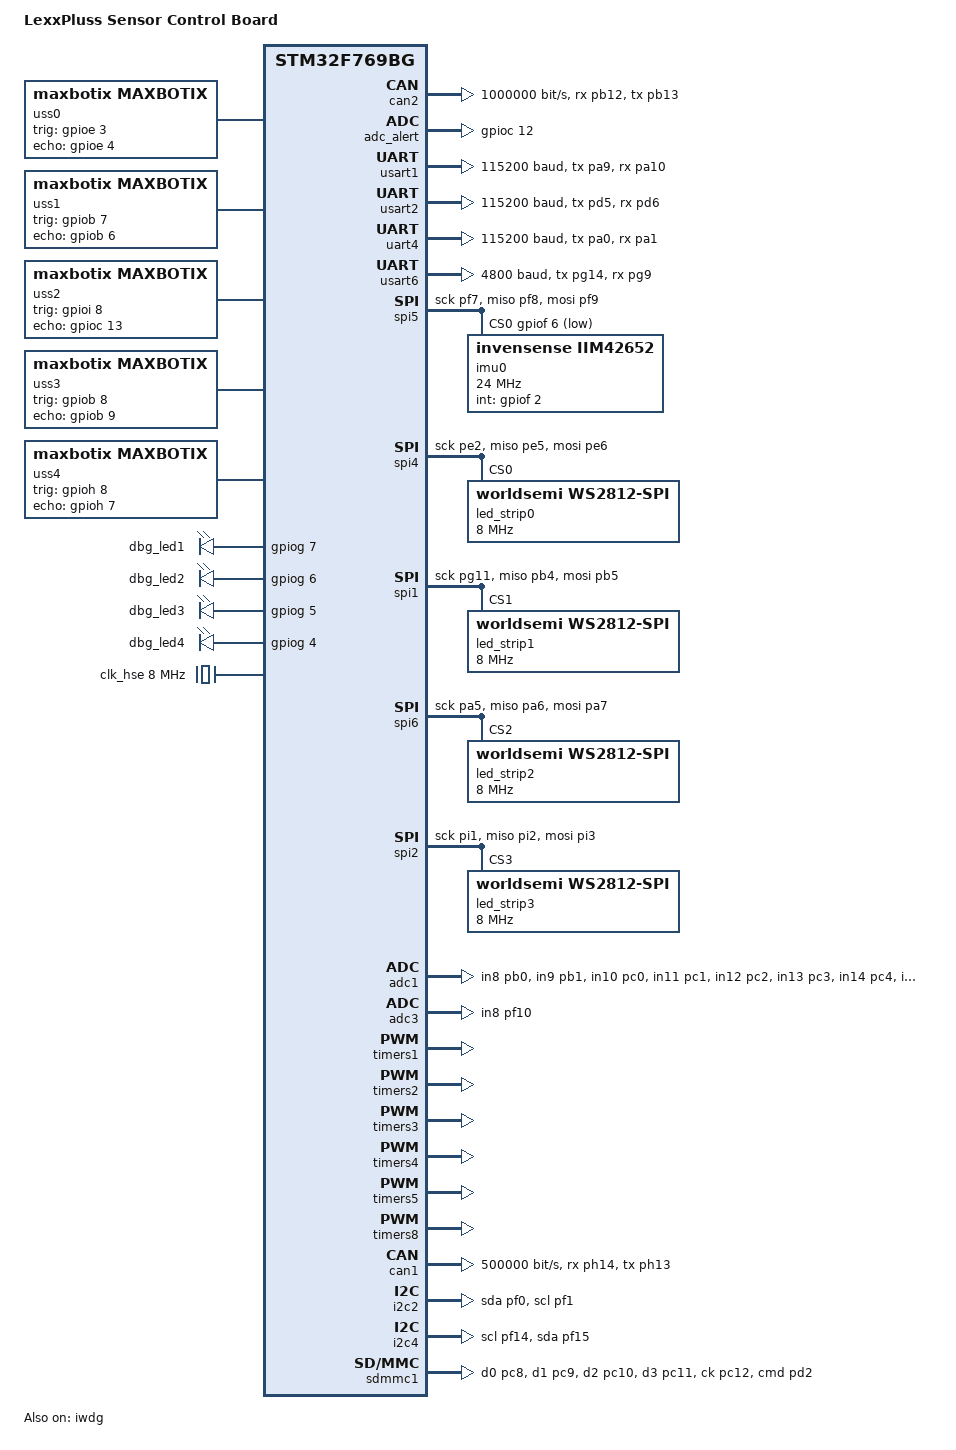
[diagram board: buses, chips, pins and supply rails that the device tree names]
/*
 * Copyright (c) 2022, LexxPluss Inc.
 * All rights reserved.
 * 
 * Redistribution and use in source and binary forms, with or without
 * modification, are permitted provided that the following conditions are met:
 * 
 * 1. Redistributions of source code must retain the above copyright notice,
 *    this list of conditions and the following disclaimer.
 * 2. Redistributions in binary form must reproduce the above copyright notice,
 *    this list of conditions and the following disclaimer in the documentation
 *    and/or other materials provided with the distribution.
 * 
 * THIS SOFTWARE IS PROVIDED BY THE COPYRIGHT HOLDERS AND CONTRIBUTORS "AS IS" AND
 * ANY EXPRESS OR IMPLIED WARRANTIES, INCLUDING, BUT NOT LIMITED TO, THE IMPLIED
 * WARRANTIES OF MERCHANTABILITY AND FITNESS FOR A PARTICULAR PURPOSE ARE
 * DISCLAIMED. IN NO EVENT SHALL THE COPYRIGHT OWNER OR CONTRIBUTORS BE LIABLE FOR
 * ANY DIRECT, INDIRECT, INCIDENTAL, SPECIAL, EXEMPLARY, OR CONSEQUENTIAL DAMAGES
 * (INCLUDING, BUT NOT LIMITED TO, PROCUREMENT OF SUBSTITUTE GOODS OR SERVICES;
 * LOSS OF USE, DATA, OR PROFITS; OR BUSINESS INTERRUPTION) HOWEVER CAUSED AND
 * ON ANY THEORY OF LIABILITY, WHETHER IN CONTRACT, STRICT LIABILITY, OR TORT
 * (INCLUDING NEGLIGENCE OR OTHERWISE) ARISING IN ANY WAY OUT OF THE USE OF THIS
 * SOFTWARE, EVEN IF ADVISED OF THE POSSIBILITY OF SUCH DAMAGE.
 */

/dts-v1/;
#include <mem.h>
#include <dt-bindings/led/led.h>
#include <st/f7/stm32f769.dtsi>
#include <st/f7/stm32f769b(g-i)tx-pinctrl.dtsi>

/ {
	model = "LexxPluss Sensor Control Board";
	compatible = "st,stm32f769bg-lexxpluss";

	chosen {
		zephyr,code-partition = &slot0_partition;
		zephyr,console = &usart1;
		zephyr,shell-uart = &usart1;
		zephyr,sram = &sram0;
		zephyr,flash = &flash0;
		zephyr,dtcm = &dtcm;
		zephyr,canbus = &can1;
	};

	soc {
		flash-controller@40023c00 {
			flash0: flash@8000000 {
				reg = <0x08000000 DT_SIZE_K(1024)>;
			};
		};

		can2: can@40006800 {
			compatible = "st,stm32-bxcan";
			reg = <0x40006800 0x400>;
			interrupts = <63 0>, <64 0>, <65 0>, <66 0>;
			interrupt-names = "TX", "RX0", "RX1", "SCE";
			clocks = <&rcc STM32_CLOCK_BUS_APB1 0x06000000>;
			master-can-reg = <0x40006400>;
			status = "disabled";
			sample-point = <875>;
		};
	};

	uss0: mb1604-0 {
		compatible = "maxbotix,maxbotix";
		trig_gpios = <&gpioe 3 GPIO_ACTIVE_HIGH>;
		echo_gpios = <&gpioe 4 GPIO_ACTIVE_HIGH>;
		status = "okay";
	};

	uss1: mb1604-1 {
		compatible = "maxbotix,maxbotix";
		trig_gpios = <&gpiob 7 GPIO_ACTIVE_HIGH>;
		echo_gpios = <&gpiob 6 GPIO_ACTIVE_HIGH>;
		status = "okay";
	};

	uss2: mb1604-2 {
		compatible = "maxbotix,maxbotix";
		trig_gpios = <&gpioi 8 GPIO_ACTIVE_HIGH>;
		echo_gpios = <&gpioc 13 GPIO_ACTIVE_HIGH>;
		status = "okay";
	};

	uss3: mb1604-3 {
		compatible = "maxbotix,maxbotix";
		trig_gpios = <&gpiob 8 GPIO_ACTIVE_HIGH>;
		echo_gpios = <&gpiob 9 GPIO_ACTIVE_HIGH>;
		status = "okay";
	};

	uss4: mb1604-4 {
		compatible = "maxbotix,maxbotix";
		trig_gpios = <&gpioh 8 GPIO_ACTIVE_HIGH>;
		echo_gpios = <&gpioh 7 GPIO_ACTIVE_HIGH>;
		status = "okay";
	};

	leds {
		compatible = "gpio-leds";
		dbg_led1: dbgled1 {
			gpios = <&gpiog 7 GPIO_ACTIVE_HIGH>;
		};
		dbg_led2: dbg_led2 {
			gpios = <&gpiog 6 GPIO_ACTIVE_HIGH>;
		};
		dbg_led3: dbg_led3 {
			gpios = <&gpiog 5 GPIO_ACTIVE_HIGH>;
		};
		dbg_led4: dbg_led4 {
			gpios = <&gpiog 4 GPIO_ACTIVE_HIGH>;
		};
	};

	iofunc {
		/* Actuator */
		act_c_fail: act_c_fail {
			compatible = "gpio-pin";
			gpios = <&gpiod 10 GPIO_ACTIVE_HIGH>;
		};
		act_l_fail: act_l_fail {
			compatible = "gpio-pin";
			gpios = <&gpiog 8 GPIO_ACTIVE_HIGH>;
		};
		act_r_fail: act_r_fail {
			compatible = "gpio-pin";
			gpios = <&gpioe 10 GPIO_ACTIVE_HIGH>;
		};
		ps_lift_actuator: ps_lift_actuator {
			compatible = "gpio-pin";
			gpios = <&gpioj 0 GPIO_ACTIVE_HIGH>;
		};
		pgood_linear_act_left: pgood_linear_act_left {
			compatible = "gpio-pin";
			gpios = <&gpiok 4 GPIO_ACTIVE_HIGH>;
		};
		pgood_linear_act_right: pgood_linear_act_right {
			compatible = "gpio-pin";
			gpios = <&gpiok 5 GPIO_ACTIVE_HIGH>;
		};
		pgood_linear_act_center: pgood_linear_act_center {
			compatible = "gpio-pin";
			gpios = <&gpiok 6 GPIO_ACTIVE_HIGH>;
		};
		encoder_center_actuator_ch1: encoder_center_actuator_ch1 {
			compatible = "gpio-pin";
			gpios = <&gpiod 12 GPIO_ACTIVE_HIGH>;
		};
		encoder_center_actuator_ch2: encoder_center_actuator_ch2 {
			compatible = "gpio-pin";
			gpios = <&gpiod 13 GPIO_ACTIVE_HIGH>;
		};
		encoder_left_actuator_ch1: encoder_left_actuator_ch1 {
			compatible = "gpio-pin";
			gpios = <&gpioa 3 GPIO_ACTIVE_HIGH>;
		};
		encoder_left_actuator_ch2: encoder_left_actuator_ch2 {
			compatible = "gpio-pin";
			gpios = <&gpioa 4 GPIO_ACTIVE_HIGH>;
		};
		encoder_right_actuator_ch1: encoder_right_actuator_ch1 {
			compatible = "gpio-pin";
			gpios = <&gpioh 6 GPIO_ACTIVE_HIGH>;
		};
		encoder_right_actuator_ch2: encoder_right_actuator_ch2 {
			compatible = "gpio-pin";
			gpios = <&gpioh 9 GPIO_ACTIVE_HIGH>;
		};
		d_enc_ena: d_enc_ena {
			compatible = "gpio-pin";
			gpios = <&gpiod 14 GPIO_ACTIVE_HIGH>;
		};

		/* Power */
		v24: v24 {
			compatible = "gpio-pin";
			gpios = <&gpioc 15 GPIO_ACTIVE_HIGH>;
		};
		v_autocharge: v_autocharge {
			compatible = "gpio-pin";
			gpios = <&gpiod 0 GPIO_ACTIVE_HIGH>;
		};
		v_wheel: v_wheel {
			compatible = "gpio-pin";
			gpios = <&gpiod 1 GPIO_ACTIVE_HIGH>;
		};
		v_peripheral: v_peripheral {
			compatible = "gpio-pin";
			gpios = <&gpiod 2 GPIO_ACTIVE_HIGH>;
		};
		pgood_24v: pgood_24v {
			compatible = "gpio-pin";
			gpios = <&gpioh 3 GPIO_ACTIVE_HIGH>;
		};
		pgood_peripheral: pgood_peripheral {
			compatible = "gpio-pin";
			gpios = <&gpioh 15 GPIO_ACTIVE_HIGH>;
		};
		pgood_wheel_motor_left: pgood_wheel_motor_left {
			compatible = "gpio-pin";
			gpios = <&gpioh 1 GPIO_ACTIVE_HIGH>;
		};
		pgood_wheel_motor_right: pgood_wheel_motor_right {
			compatible = "gpio-pin";
			gpios = <&gpioh 12 GPIO_ACTIVE_HIGH>;
		};

		/* Fan */
		fan1: fan1 {
			compatible = "gpio-pin";
			gpios = <&gpioc 10 GPIO_ACTIVE_HIGH>;
		};
		fan2: fan2 {
			compatible = "gpio-pin";
			gpios = <&gpioc 11 GPIO_ACTIVE_HIGH>;
		};
		fan3: fan3 {
			compatible = "gpio-pin";
			gpios = <&gpiob 14 GPIO_ACTIVE_HIGH>;
		};
		fan4: fan4 {
			compatible = "gpio-pin";
			gpios = <&gpiob 15 GPIO_ACTIVE_HIGH>;
		};
		
		/* PGV */
		pgv_en_n: pgv_en_n {
			compatible = "gpio-pin";
			gpios = <&gpioa 2 GPIO_ACTIVE_HIGH>;
		};
		pgv_en: pgv_en {
			compatible = "gpio-pin";
			gpios = <&gpioh 2 GPIO_ACTIVE_HIGH>;
		};

		/* Power SW */
		ps_sw_in: ps_sw_in {
			compatible = "gpio-pin";
			gpios = <&gpioh 4 GPIO_ACTIVE_HIGH>;
		};
		ps_led_out: ps_led_out {
			compatible = "gpio-pin";
			gpios = <&gpioh 5 GPIO_ACTIVE_HIGH>;
		};

		/* Resume SW */
		resume_sw_in: resume_sw_in {
			compatible = "gpio-pin";
			gpios = <&gpioi 14 GPIO_ACTIVE_HIGH>;
		};
		resume_led_out: resume_led_out {
			compatible = "gpio-pin";
			gpios = <&gpioi 9 GPIO_ACTIVE_HIGH>;
		};

		/* Safety */
		wheel_en: wheel_en {
			compatible = "gpio-pin";
			gpios = <&gpiok 3 GPIO_ACTIVE_HIGH>;
		};
		bp_left: bp_left {
			compatible = "gpio-pin";
			gpios = <&gpioi 7 GPIO_ACTIVE_HIGH>;
		};
		bp_reset: bp_reset {
			compatible = "gpio-pin";
			gpios = <&gpiof 4 GPIO_ACTIVE_HIGH>;
		};
		es_left: es_left {
			compatible = "gpio-pin";
			gpios = <&gpioi 4 GPIO_ACTIVE_HIGH>;
		};
		es_right: es_right {
			compatible = "gpio-pin";
			gpios = <&gpioi 0 GPIO_ACTIVE_HIGH>;
		};
		mc_din: mc_din {
			compatible = "gpio-pin";
			gpios = <&gpiok 7 GPIO_ACTIVE_HIGH>;
		};
		es_option_1: es_option_1 {
			compatible = "gpio-pin";
			gpios = <&gpioj 14 GPIO_ACTIVE_HIGH>;
		};
		es_option_2: es_option_2 {
			compatible = "gpio-pin";
			gpios = <&gpioj 15 GPIO_ACTIVE_HIGH>;
		};
		eo_option_1: eo_option_1 {
			compatible = "gpio-pin";
			gpios = <&gpiog 2 GPIO_ACTIVE_HIGH>;
		};
		eo_option_2: eo_option_2 {
			compatible = "gpio-pin";
			gpios = <&gpiog 3 GPIO_ACTIVE_HIGH>;
		};
		safety_lidar_ossd1: safety_lidar_ossd1 {
			compatible = "gpio-pin";
			gpios = <&gpiof 5 GPIO_ACTIVE_HIGH>;
		};
		safety_lidar_ossd2: safety_lidar_ossd2 {
			compatible = "gpio-pin";
			gpios = <&gpiof 11 GPIO_ACTIVE_HIGH>;
		};
		safety_lidar_ossd3: safety_lidar_ossd3 {
			compatible = "gpio-pin";
			gpios = <&gpiof 13 GPIO_ACTIVE_HIGH>;
		};
		safety_lidar_ossd4: safety_lidar_ossd4 {
			compatible = "gpio-pin";
			gpios = <&gpiod 15 GPIO_ACTIVE_HIGH>;
		};
		safety_lidar_res_req1: safety_lidar_res_req1 {
			compatible = "gpio-pin";
			gpios = <&gpiog 10 GPIO_ACTIVE_HIGH>;
		};
		safety_lidar_res_req2: safety_lidar_res_req2 {
			compatible = "gpio-pin";
			gpios = <&gpiog 15 GPIO_ACTIVE_HIGH>;
		};

		/* BMU */
		bmu_c_fet: bmu_c_fet {
			compatible = "gpio-pin";
			gpios = <&gpioj 5 GPIO_ACTIVE_HIGH>;
		};
		bmu_d_fet: bmu_d_fet {
			compatible = "gpio-pin";
			gpios = <&gpioj 12 GPIO_ACTIVE_HIGH>;
		};
		bmu_p_dsg: bmu_p_dsg {
			compatible = "gpio-pin";
			gpios = <&gpioj 13 GPIO_ACTIVE_HIGH>;
		};

		/* IPC GPIO */
		ipc_gpio_2: ipc_gpio_2 {
			compatible = "gpio-pin";
			gpios = <&gpiof 12 GPIO_ACTIVE_HIGH>;
		};
		ipc_gpio_3: ipc_gpio_3 {
			compatible = "gpio-pin";
			gpios = <&gpiod 7 GPIO_ACTIVE_HIGH>;
		};
		ipc_gpio_4: ipc_gpio_4 {
			compatible = "gpio-pin";
			gpios = <&gpiod 8 GPIO_ACTIVE_HIGH>;
		};
		ipc_gpio_5: ipc_gpio_5 {
			compatible = "gpio-pin";
			gpios = <&gpiod 9 GPIO_ACTIVE_HIGH>;
		};
		ipc_gpio_6: ipc_gpio_6 {
			compatible = "gpio-pin";
			gpios = <&gpiod 11 GPIO_ACTIVE_HIGH>;
		};
		ipc_gpio_7: ipc_gpio_7 {
			compatible = "gpio-pin";
			gpios = <&gpioe 1 GPIO_ACTIVE_HIGH>;
		};

		/* Wheel Encoder */
		encoder_wheel_left_z: encoder_wheel_left_z {
			compatible = "gpio-pin";
			gpios = <&gpioe 0 GPIO_ACTIVE_HIGH>;
		};
		encoder_wheel_right_z: encoder_wheel_right_z {
			compatible = "gpio-pin";
			gpios = <&gpioe 12 GPIO_ACTIVE_HIGH>;
		};

		/* DIPSW */
		dipsw_bit_1: dipsw_bit_1 {
			compatible = "gpio-pin";
			gpios = <&gpioe 13 GPIO_ACTIVE_HIGH>;
		};
		dipsw_bit_2: dipsw_bit_2 {
			compatible = "gpio-pin";
			gpios = <&gpioe 14 GPIO_ACTIVE_HIGH>;
		};
		dipsw_bit_3: dipsw_bit_3 {
			compatible = "gpio-pin";
			gpios = <&gpioe 15 GPIO_ACTIVE_HIGH>;
		};
		dipsw_bit_4: dipsw_bit_4 {
			compatible = "gpio-pin";
			gpios = <&gpiof 3 GPIO_ACTIVE_HIGH>;
		};
		
		/* IPC Power */
		ipc_power_sw_fp: ipc_power_sw_fp {
			compatible = "gpio-pin";
			gpios = <&gpioe 7 GPIO_ACTIVE_HIGH>;
		};
		ipc_power_status_fp: ipc_power_status_fp {
			compatible = "gpio-pin";
			gpios = <&gpioe 8 GPIO_ACTIVE_HIGH>;
		};

		/* Switch */
		key_switch_left: key_switch_left {
			compatible = "gpio-pin";
			gpios = <&gpioi 10 GPIO_ACTIVE_HIGH>;
		};
		key_switch_right: key_switch_right {
			compatible = "gpio-pin";
			gpios = <&gpioi 11 GPIO_ACTIVE_HIGH>;
		};
		switch_start: switch_start {
			compatible = "gpio-pin";
			gpios = <&gpioi 12 GPIO_ACTIVE_HIGH>;
		};
		switch_stop: switch_stop {
			compatible = "gpio-pin";
			gpios = <&gpioi 13 GPIO_ACTIVE_HIGH>;
		};
		lift_up_switch: lift_up_switch {
			compatible = "gpio-pin";
			gpios = <&gpiog 0 GPIO_ACTIVE_HIGH>;
		};
		lift_down_switch: lift_down_switch {
			compatible = "gpio-pin";
			gpios = <&gpiog 1 GPIO_ACTIVE_HIGH>;
		};

		/* Spare GPIO */
		spare_gpio_1: spare_gpio_1 {
			compatible = "gpio-pin";
			gpios = <&gpioi 15 GPIO_ACTIVE_HIGH>;
		};
		spare_gpio_2: spare_gpio_2 {
			compatible = "gpio-pin";
			gpios = <&gpioj 1 GPIO_ACTIVE_HIGH>;
		};
		spare_gpio_3: spare_gpio_3 {
			compatible = "gpio-pin";
			gpios = <&gpioj 2 GPIO_ACTIVE_HIGH>;
		};
		spare_gpio_4: spare_gpio_4 {
			compatible = "gpio-pin";
			gpios = <&gpioj 3 GPIO_ACTIVE_HIGH>;
		};
		spare_gpio_5: spare_gpio_5 {
			compatible = "gpio-pin";
			gpios = <&gpioj 4 GPIO_ACTIVE_HIGH>;
		};
		spare_gpio_6: spare_gpio_6 {
			compatible = "gpio-pin";
			gpios = <&gpioa 8 GPIO_ACTIVE_HIGH>;
		};
		spare_gpio_7: spare_gpio_7 {
			compatible = "gpio-pin";
			gpios = <&gpioa 15 GPIO_ACTIVE_HIGH>;
		};
		spare_gpio_8: spare_gpio_8 {
			compatible = "gpio-pin";
			gpios = <&gpiob 2 GPIO_ACTIVE_HIGH>;
		};
		spare_gpio_9: spare_gpio_9 {
			compatible = "gpio-pin";
			gpios = <&gpiob 3 GPIO_ACTIVE_HIGH>;
		};
		spare_gpio_10: spare_gpio_10 {
			compatible = "gpio-pin";
			gpios = <&gpiob 4 GPIO_ACTIVE_HIGH>;
		};
		spare_gpio_11: spare_gpio_11 {
			compatible = "gpio-pin";
			gpios = <&gpioc 8 GPIO_ACTIVE_HIGH>;
		};
		spare_gpio_12: spare_gpio_12 {
			compatible = "gpio-pin";
			gpios = <&gpioc 9 GPIO_ACTIVE_HIGH>;
		};
		spare_gpio_13: spare_gpio_13 {
			compatible = "gpio-pin";
			gpios = <&gpioc 14 GPIO_ACTIVE_HIGH>;
		};

		/* etc */
		adc_alert: adc_alert {
			compatible = "gpio-pin";
			gpios = <&gpioc 12 GPIO_ACTIVE_HIGH>;
		};
	};
};

&clk_hse {
	hse-bypass;
	clock-frequency = <DT_FREQ_M(8)>;
	status = "okay";
};

&pll {
	div-m = <8>;
	mul-n = <432>;
	div-p = <2>;
	div-q = <9>;
	clocks = <&clk_hse>;
	status = "okay";
};

&rcc {
	clocks = <&pll>;
	clock-frequency = <DT_FREQ_M(216)>;
	ahb-prescaler = <1>;
	apb1-prescaler = <4>;
	apb2-prescaler = <2>;
};

&usart1 {
	pinctrl-0 = <&usart1_tx_pa9 &usart1_rx_pa10>;
	pinctrl-names = "default";
	current-speed = <115200>;
	status = "okay";
};

&usart2 {
	pinctrl-0 = <&usart2_tx_pd5 &usart2_rx_pd6>;
	pinctrl-names = "default";
	current-speed = <115200>;
	status = "okay";
};

&uart4 {
	pinctrl-0 = <&uart4_tx_pa0 &uart4_rx_pa1>;
	pinctrl-names = "default";
	current-speed = <115200>;
	status = "okay";
};

&usart6 {
	pinctrl-0 = <&usart6_tx_pg14 &usart6_rx_pg9>;
	pinctrl-names = "default";
	current-speed = <4800>;
	status = "okay";
};


&spi5 {
	pinctrl-0 = <&spi5_sck_pf7 &spi5_miso_pf8 &spi5_mosi_pf9>;
	pinctrl-names = "default";
	cs-gpios = <&gpiof 6 GPIO_ACTIVE_LOW>;
	status = "okay";
	imu0: iim42652@0 {
		compatible = "invensense,iim42652";
		spi-max-frequency = <24000000>;
		reg = <0>;
		int-gpios = <&gpiof 2 GPIO_ACTIVE_HIGH>;
	};
};

&spi4 {
	pinctrl-0 = <&spi4_sck_pe2 &spi4_miso_pe5 &spi4_mosi_pe6>;
	pinctrl-names = "default";
	status = "okay";
	led_strip0: ws2812@0 {
		compatible = "worldsemi,ws2812-spi";
		reg = <0>;
		spi-max-frequency = <8000000>;
		chain-length = <36>;
		spi-one-frame = <0x7c>;
		spi-zero-frame = <0x60>;
		color-mapping = <LED_COLOR_ID_GREEN LED_COLOR_ID_RED LED_COLOR_ID_BLUE>;
	};
};

&spi1 {
	pinctrl-0 = <&spi1_sck_pg11 &spi1_miso_pb4 &spi1_mosi_pb5>;
	pinctrl-names = "default";
	status = "okay";
	led_strip1: ws2812@1 {
		compatible = "worldsemi,ws2812-spi";
		reg = <1>;
		spi-max-frequency = <8000000>;
		chain-length = <36>;
		spi-one-frame = <0x7c>;
		spi-zero-frame = <0x60>;
		color-mapping = <LED_COLOR_ID_GREEN LED_COLOR_ID_RED LED_COLOR_ID_BLUE>;
	};
};

&spi6 {
	pinctrl-0 = <&spi6_sck_pa5 &spi6_miso_pa6 &spi6_mosi_pa7>;
	pinctrl-names = "default";
	status = "okay";
	led_strip2: ws2812@2 {
		compatible = "worldsemi,ws2812-spi";
		reg = <2>;
		spi-max-frequency = <8000000>;
		chain-length = <25>;
		spi-one-frame = <0x7c>;
		spi-zero-frame = <0x60>;
		color-mapping = <LED_COLOR_ID_GREEN LED_COLOR_ID_RED LED_COLOR_ID_BLUE>;
	};
};

&spi2 {
	pinctrl-0 = <&spi2_sck_pi1 &spi2_miso_pi2 &spi2_mosi_pi3>;
	pinctrl-names = "default";
	status = "okay";
	led_strip3: ws2812@3 {
		compatible = "worldsemi,ws2812-spi";
		reg = <3>;
		spi-max-frequency = <8000000>;
		chain-length = <25>;
		spi-one-frame = <0x7c>;
		spi-zero-frame = <0x60>;
		color-mapping = <LED_COLOR_ID_GREEN LED_COLOR_ID_RED LED_COLOR_ID_BLUE>;
	};
};

&adc1 {
	pinctrl-0 = <&adc1_in8_pb0 &adc1_in9_pb1 &adc1_in10_pc0 &adc1_in11_pc1 &adc1_in12_pc2 &adc1_in13_pc3 &adc1_in14_pc4 &adc1_in15_pc5>;
	pinctrl-names = "default";
	st,adc-prescaler = <2>;
	status = "okay";
};

&adc3 {
	pinctrl-0 = <&adc3_in8_pf10>;
	pinctrl-names = "default";
	st,adc-prescaler = <2>;
	status = "okay";
};

&timers1 {
	status = "okay";
	pwm1: pwm {
		status = "okay";
		pinctrl-0 = <&tim1_ch1_pe9 &tim1_ch2_pe11>;
		pinctrl-names = "default";
	};
};

&timers2 {
	status = "okay";
	pwm2: pwm {
		status = "okay";
		pinctrl-0 = <&tim2_ch3_pb10 &tim2_ch4_pb11>;
		pinctrl-names = "default";
	};
};

&timers3 {
	status = "okay";
	pwm3: pwm {
		status = "okay";
		pinctrl-0 = <&tim3_ch1_pc6 &tim3_ch2_pc7>;
		pinctrl-names = "default";
	};
};

&timers4 {
	status = "okay";
	pwm4: pwm {
		status = "okay";
		pinctrl-0 = <&tim4_ch1_pd12 &tim4_ch2_pd13>;
		pinctrl-names = "default";
	};
};

&timers5 {
	status = "okay";
	pwm5: pwm {
		status = "okay";
		pinctrl-0 = <&tim5_ch1_ph10 &tim5_ch2_ph11>;
		pinctrl-names = "default";
	};
};

&timers8 {
	status = "okay";
	pwm8: pwm {
		status = "okay";
		pinctrl-0 = <&tim8_ch1_pi5 &tim8_ch2_pi6>;
		pinctrl-names = "default";
	};
};

&can1 {
	pinctrl-0 = <&can1_rx_ph14 &can1_tx_ph13>;
	pinctrl-names = "default";
	bus-speed = <500000>;
	status = "okay";
};

&can2 {
	pinctrl-0 = <&can2_rx_pb12 &can2_tx_pb13>;
	pinctrl-names = "default";
	bus-speed = <1000000>;
	status = "okay";
};

&i2c2 {
	pinctrl-0 = <&i2c2_sda_pf0 &i2c2_scl_pf1>;
	pinctrl-names = "default";
	status = "okay";
};

&i2c4 {
	pinctrl-0 = <&i2c4_scl_pf14 &i2c4_sda_pf15>;
	pinctrl-names = "default";
	status = "okay";
};

&sdmmc1 {
	pinctrl-0 = <&sdmmc1_d0_pc8 &sdmmc1_d1_pc9 &sdmmc1_d2_pc10 &sdmmc1_d3_pc11 &sdmmc1_ck_pc12 &sdmmc1_cmd_pd2>;
	pinctrl-names = "default";
	status = "okay";
};

&iwdg {
	status = "okay";
};

&flash0 {
	partitions {
		compatible = "fixed-partitions";
		#address-cells = <1>;
		#size-cells = <1>;
		boot_partition: partition@0 {
			label = "mcuboot";
			reg = <0x0 0x00020000>;
		};
		storage_partition: partition@20000 {
			label = "storage";
			reg = <0x00020000 0x00020000>;
		};
		slot0_partition: partition@40000 {
			label = "image-0";
			reg = <0x00040000 0x00040000>;
		};
		slot1_partition: partition@80000 {
			label = "image-1";
			reg = <0x00080000 0x00040000>;
		};
		scratch_partition: partition@C0000 {
			label = "image-scratch";
			reg = <0x000C0000 0x00040000>;
		};
	};
};
